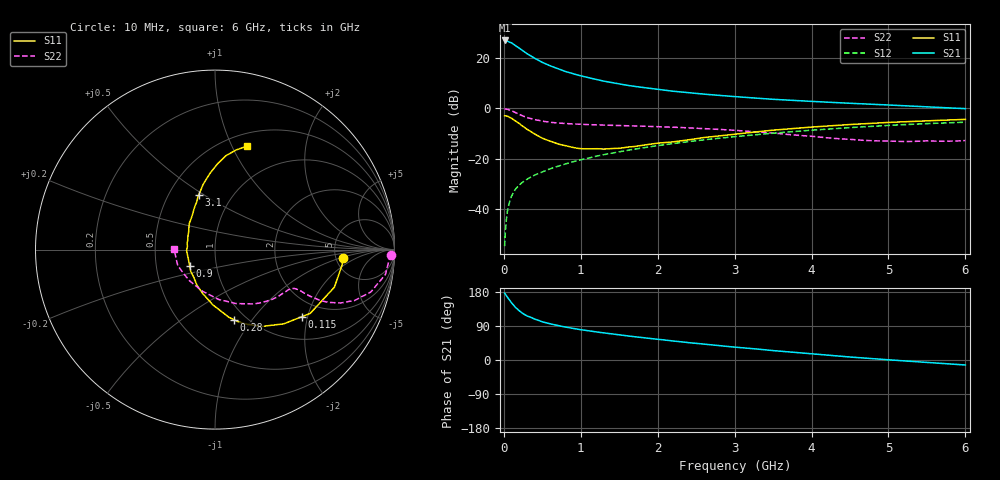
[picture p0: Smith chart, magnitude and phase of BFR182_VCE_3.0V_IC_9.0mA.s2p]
! (c) 2015  Infineon Technologies AG, Munich
! Infineon Technologies  Discrete & RF Semiconductors
! BFR182
! VCE =  3.0 V,  IC =  9.0 mA
! Common Emitter S-Parameters:  Nov 2015
# GHz  S  MA  R  50
!  f  S11  S21  S12  S22
! GHz  MAG  ANG  MAG  ANG  MAG  ANG  MAG  ANG
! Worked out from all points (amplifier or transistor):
!   210 points, 10 MHz to 6 GHz, reference 50 ohm
!   highest |S21| = 27.1 dB at 10 MHz (marker M1)
!   |S21| within 3 dB of that: start of sweep to 197 MHz
!   unconditionally stable (mu >= 1): 814.2 MHz to 2.653 GHz
!   at 185 MHz: K = 0.48, MSG = 27.7 dB, |S12| = -31.0 dB
!   at 1.52 GHz: K = 1.05, MAG = 12.0 dB, |S12| = -17.2 dB
!   at 6 GHz: K = 0.89, MSG = 2.7 dB, |S12| = -5.5 dB
!   S11 on the Smith chart (normalised r, x): 10 MHz: 5.79, -1.09; 115 MHz: 1.55, -1.85; 280 MHz: 0.88, -0.82; 900 MHz: 0.74, -0.14; 3.1 GHz: 0.70, +0.48; 6 GHz: 0.63, +1.15
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0.01  0.7142 -3.7  22.57 176.7  0.0018 84.2  0.9831 -1.7
0.02  0.7132 -7.0  22.19 173.4  0.0035 90.0  0.9716 -3.4
0.05  0.6973 -17.5  21.76 164.6  0.0096 80.9  0.9596 -8.3
0.1  0.6386 -33.8  20.24 150.9  0.0178 75.8  0.8998 -15.2
0.115  0.6128 -37.5  19.44 147.6  0.0198 73.7  0.8771 -16.6
0.15  0.5638 -47.2  17.88 138.8  0.0244 70.1  0.8263 -20.1
0.2  0.5001 -59.0  15.87 129.8  0.0299 68.4  0.7607 -23.0
0.24  0.4481 -67.6  14.34 123.8  0.0335 65.9  0.7144 -24.4
0.28  0.4047 -74.8  12.99 118.9  0.0369 65.5  0.6764 -25.3
0.3  0.3849 -78.4  12.36 116.4  0.0386 65.6  0.6588 -25.7
0.4  0.3091 -92.0  9.988 108.0  0.0469 65.5  0.598 -26.1
0.5  0.2549 -105.4  8.259 100.7  0.054 65.9  0.557 -26.0
0.6  0.223 -116.8  7.077 95.4  0.0624 66.5  0.5296 -25.8
0.7  0.1964 -126.3  6.171 90.9  0.0699 67.1  0.5114 -25.8
0.9  0.1666 -147.8  4.884 83.3  0.0869 67.4  0.4902 -26.2
1.02  0.1571 -161.5  4.38 79.5  0.0961 67.5  0.4802 -26.8
1.4  0.1594 166.5  3.266 69.0  0.1279 66.9  0.4605 -30.2
2.02  0.2041 134.6  2.365 54.3  0.183 63.2  0.4326 -38.1
3.1  0.3178 106.5  1.675 32.3  0.2826 53.8  0.3563 -58.0
4.1  0.4349 92.7  1.355 14.7  0.3771 42.9  0.2686 -89.5
5.1  0.5335 82.4  1.149 -0.9  0.4666 30.7  0.2209 -135.9
6  0.6044 72.7  0.989 -13.2  0.53 18.2  0.2285 179.5
